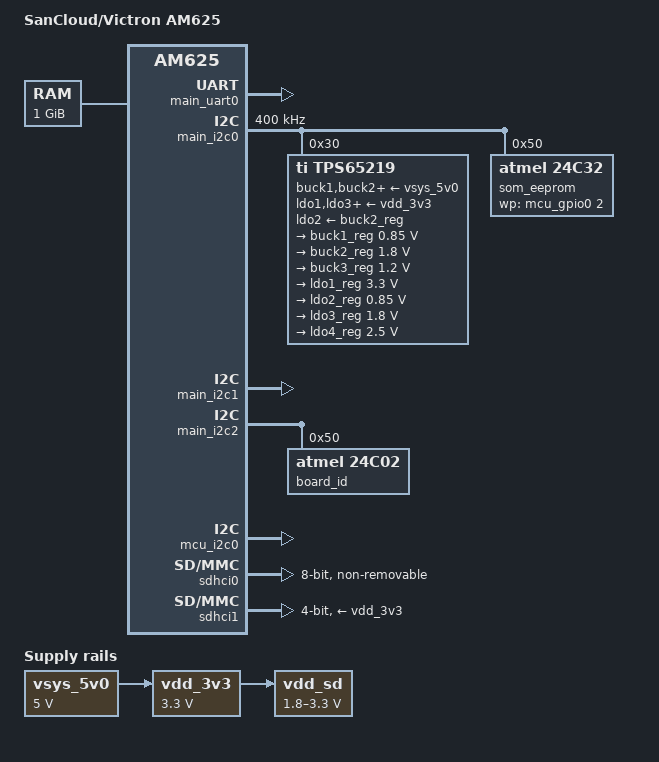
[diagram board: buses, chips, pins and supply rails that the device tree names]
/dts-v1/;

#include <dt-bindings/gpio/gpio.h>

#include "k3-am625.dtsi"

/ {
	model = "SanCloud/Victron AM625";
	compatible = "sancloud,am625-victron", "ti,am625";

	aliases {
		i2c0 = &main_i2c1;
		i2c1 = &main_i2c2;
		i2c2 = &mcu_i2c0;
		i2c3 = &main_i2c0;
		mmc0 = &sdhci0;
		mmc1 = &sdhci1;
		serial0 = &main_uart0;
	};

	chosen {
		stdout-path = "serial0:115200n8";
	};

	memory@80000000 {
		device_type = "memory";
		reg = <0x00000000 0x80000000 0x00000000 0x40000000>; /* 1G */
	};

	reserved-memory {
		#address-cells = <2>;
		#size-cells = <2>;
		ranges;

		rtos_ipc_memory_region: ipc-memories@9c800000 {
			compatible = "shared-dma-pool";
			reg = <0x00 0x9c800000 0x00 0x00300000>;
			no-map;
		};

		mcu_m4fss_dma_memory_region: m4f-dma-memory@9cb00000 {
			compatible = "shared-dma-pool";
			reg = <0x00 0x9cb00000 0x00 0x100000>;
			no-map;
		};

		mcu_m4fss_memory_region: m4f-memory@9cc00000 {
			compatible = "shared-dma-pool";
			reg = <0x00 0x9cc00000 0x00 0xe00000>;
			no-map;
		};

		wkup_r5fss0_core0_dma_memory_region: r5f-dma-memory@9da00000 {
			compatible = "shared-dma-pool";
			reg = <0x00 0x9da00000 0x00 0x00100000>;
			no-map;
		};

		wkup_r5fss0_core0_memory_region: r5f-memory@9db00000 {
			compatible = "shared-dma-pool";
			reg = <0x00 0x9db00000 0x00 0x00c00000>;
			no-map;
		};

		lpm_ctx_ddr: lpm-memory@9e700000 {
			reg = <0x00 0x9e700000 0x00 0x80000>;
			alignment = <0x1000>;
		};

		secure_tfa_ddr: tfa@9e780000 {
			reg = <0x00 0x9e780000 0x00 0x80000>;
			alignment = <0x1000>;
			no-map;
		};

		secure_ddr: optee@9e800000 {
			reg = <0x00 0x9e800000 0x00 0x01800000>;  /* OP-TEE */
			alignment = <0x1000>;
			no-map;
		};
	};

	vsys_5v0: regulator-5v0 {
		compatible = "regulator-fixed";
		regulator-name = "vsys_5v0";
		regulator-min-microvolt = <5000000>;
		regulator-max-microvolt = <5000000>;
		regulator-always-on;
		regulator-boot-on;
	};

	vdd_3v3: regulator-3v3 {
		compatible = "regulator-fixed";
		regulator-name = "vdd_3v3";
		regulator-min-microvolt = <3300000>;
		regulator-max-microvolt = <3300000>;
		vin-supply = <&vsys_5v0>;
		regulator-always-on;
		regulator-boot-on;
	};

	vdd_sd: regulator-sd {
		compatible = "regulator-gpio";
		pinctrl-names = "default";
		pinctrl-0 = <&vdd_sd_pins>;
		regulator-name = "vdd_sd";
		regulator-min-microvolt = <1800000>;
		regulator-max-microvolt = <3300000>;
		regulator-boot-on;
		vin-supply = <&vdd_3v3>;
		gpios = <&main_gpio1 49 GPIO_ACTIVE_HIGH>;
		states = <1800000 0x0>,
			 <3300000 0x1>;
	};
};

&main_pmx0 {
	main_uart0_pins: main-uart0-pins {
		pinctrl-single,pins = <
			AM62X_IOPAD(0x01c8, PIN_INPUT, 0)	  /* D14 */
			AM62X_IOPAD(0x01cc, PIN_OUTPUT, 0)	  /* E14 */
		>;
	};

	main_i2c0_pins: main-i2c0-pins {
		pinctrl-single,pins = <
			AM62X_IOPAD(0x01e0, PIN_INPUT_PULLUP, 0)  /* B16 */
			AM62X_IOPAD(0x01e4, PIN_INPUT_PULLUP, 0)  /* A16 */
		>;
	};

	main_i2c1_pins: main-i2c1-pins {
		pinctrl-single,pins = <
			AM62X_IOPAD(0x01e8, PIN_INPUT_PULLUP, 0)  /* B17 */
			AM62X_IOPAD(0x01ec, PIN_INPUT_PULLUP, 0)  /* A17 */
		>;
	};

	main_i2c2_pins: main-i2c2-pins {
		pinctrl-single,pins = <
			AM62X_IOPAD(0x00b0, PIN_INPUT_PULLUP, 1)  /* K22 */
			AM62X_IOPAD(0x00b4, PIN_INPUT_PULLUP, 1)  /* K24 */
		>;
	};

	sdhci0_pins: sdhci0-pins {
		pinctrl-single,pins = <
			AM62X_IOPAD(0x0218, PIN_INPUT, 0)	  /* AB1 */
			AM62X_IOPAD(0x0220, PIN_INPUT, 0)	  /* Y3  */
			AM62X_IOPAD(0x0214, PIN_INPUT, 0)	  /* AA2 */
			AM62X_IOPAD(0x0210, PIN_INPUT, 0)	  /* AA1 */
			AM62X_IOPAD(0x020c, PIN_INPUT, 0)	  /* AA3 */
			AM62X_IOPAD(0x0208, PIN_INPUT, 0)	  /* Y4  */
			AM62X_IOPAD(0x0204, PIN_INPUT, 0)	  /* AB2 */
			AM62X_IOPAD(0x0200, PIN_INPUT, 0)	  /* AC1 */
			AM62X_IOPAD(0x01fc, PIN_INPUT, 0)	  /* AD2 */
			AM62X_IOPAD(0x01f8, PIN_INPUT, 0)	  /* AC2 */
		>;
	};

	sdhci1_pins: sdhci1-pins {
		pinctrl-single,pins = <
			AM62X_IOPAD(0x0234, PIN_INPUT, 0)	  /* B22 */
			AM62X_IOPAD(0x023c, PIN_INPUT, 0)	  /* A21 */
			AM62X_IOPAD(0x0240, PIN_INPUT, 0)	  /* D17 */
			AM62X_IOPAD(0x0230, PIN_INPUT, 0)	  /* A22 */
			AM62X_IOPAD(0x022c, PIN_INPUT, 0)	  /* B21 */
			AM62X_IOPAD(0x0228, PIN_INPUT, 0)	  /* C21 */
			AM62X_IOPAD(0x0224, PIN_INPUT, 0)	  /* D22 */
		>;
	};

	pmic_pins: pmic-pins {
		pinctrl-single,pins = <
			AM62X_IOPAD(0x01f4, PIN_INPUT, 0)	  /* D16 */
		>;
	};

	vdd_sd_pins: vdd-sd-pins {
		pinctrl-single,pins = <
			AM62X_IOPAD(0x0244, PIN_OUTPUT, 7)	  /* C17 */
		>;
	};
};

&mcu_pmx0 {
	mcu_i2c0_pins: mcu-i2c0-pins {
		pinctrl-single,pins = <
			AM62X_IOPAD(0x0044, PIN_INPUT_PULLUP, 0)  /* A8  */
			AM62X_IOPAD(0x0048, PIN_INPUT_PULLUP, 0)  /* D10 */
		>;
	};
};

&main_uart0 {
	pinctrl-names = "default";
	pinctrl-0 = <&main_uart0_pins>;
	status = "okay";
};

&main_i2c0 {
	pinctrl-names = "default";
	pinctrl-0 = <&main_i2c0_pins>;
	clock-frequency = <400000>;
	status = "okay";

	tps65219: pmic@30 {
		compatible = "ti,tps65219";
		pinctrl-names = "default";
		pinctrl-0 = <&pmic_pins>;
		reg = <0x30>;

		buck1-supply = <&vsys_5v0>;
		buck2-supply = <&vsys_5v0>;
		buck3-supply = <&vsys_5v0>;
		ldo1-supply = <&vdd_3v3>;
		ldo2-supply = <&buck2_reg>;
		ldo3-supply = <&vdd_3v3>;
		ldo4-supply = <&vdd_3v3>;

		interrupt-parent = <&gic500>;
		interrupts = <GIC_SPI 224 IRQ_TYPE_LEVEL_HIGH>;
		interrupt-controller;
		#interrupt-cells = <2>;

		system-power-controller;
		wakeup-source;
		ti,power-button;

		regulators {
			buck1_reg: buck1 {
				regulator-name = "VDD_CORE";
				regulator-min-microvolt = <850000>;
				regulator-max-microvolt = <850000>;
				regulator-boot-on;
				regulator-always-on;
			};

			buck2_reg: buck2 {
				regulator-name = "VDD_1V8";
				regulator-min-microvolt = <1800000>;
				regulator-max-microvolt = <1800000>;
				regulator-boot-on;
				regulator-always-on;
			};

			buck3_reg: buck3 {
				regulator-name = "VDD_1V2";
				regulator-min-microvolt = <1200000>;
				regulator-max-microvolt = <1200000>;
				regulator-boot-on;
				regulator-always-on;
			};

			ldo1_reg: ldo1 {
				regulator-name = "VDD_SD_3V3";
				regulator-min-microvolt = <3300000>;
				regulator-max-microvolt = <3300000>;
				regulator-allow-bypass;
				regulator-boot-on;
				regulator-always-on;
			};

			ldo2_reg: ldo2 {
				regulator-name = "VDDA_0V85";
				regulator-min-microvolt = <850000>;
				regulator-max-microvolt = <850000>;
				regulator-boot-on;
				regulator-always-on;
			};

			ldo3_reg: ldo3 {
				regulator-name = "VDDA_1V8";
				regulator-min-microvolt = <1800000>;
				regulator-max-microvolt = <1800000>;
				regulator-boot-on;
				regulator-always-on;
			};

			ldo4_reg: ldo4 {
				regulator-name = "VDD_2V5";
				regulator-min-microvolt = <2500000>;
				regulator-max-microvolt = <2500000>;
				regulator-boot-on;
				regulator-always-on;
			};
		};
	};

	som_eeprom: eeprom@50 {
		compatible = "atmel,24c32";
		reg = <0x50>;
		pagesize = <32>;
		wp-gpios = <&mcu_gpio0 2 GPIO_ACTIVE_HIGH>;
	};
};

&main_i2c1 {
	pinctrl-names = "default";
	pinctrl-0 = <&main_i2c1_pins>;
	status = "okay";
};

&main_i2c2 {
	pinctrl-names = "default";
	pinctrl-0 = <&main_i2c2_pins>;
	status = "okay";

	board_id: eeprom@50 {
		compatible = "atmel,24c02";
		reg = <0x50>;
		pagesize = <16>;
		read-only;
	};
};

&mcu_i2c0 {
	pinctrl-names = "default";
	pinctrl-0 = <&mcu_i2c0_pins>;
	status = "okay";
};

&sdhci0 {
	pinctrl-names = "default";
	pinctrl-0 = <&sdhci0_pins>;
	status = "okay";

	bus-width = <8>;
	non-removable;
};

&sdhci1 {
	pinctrl-names = "default";
	pinctrl-0 = <&sdhci1_pins>;
	status = "okay";

	bus-width = <4>;
	disable-wp;
	vmmc-supply = <&vdd_3v3>;
	vqmmc-supply = <&vdd_sd>;
};
